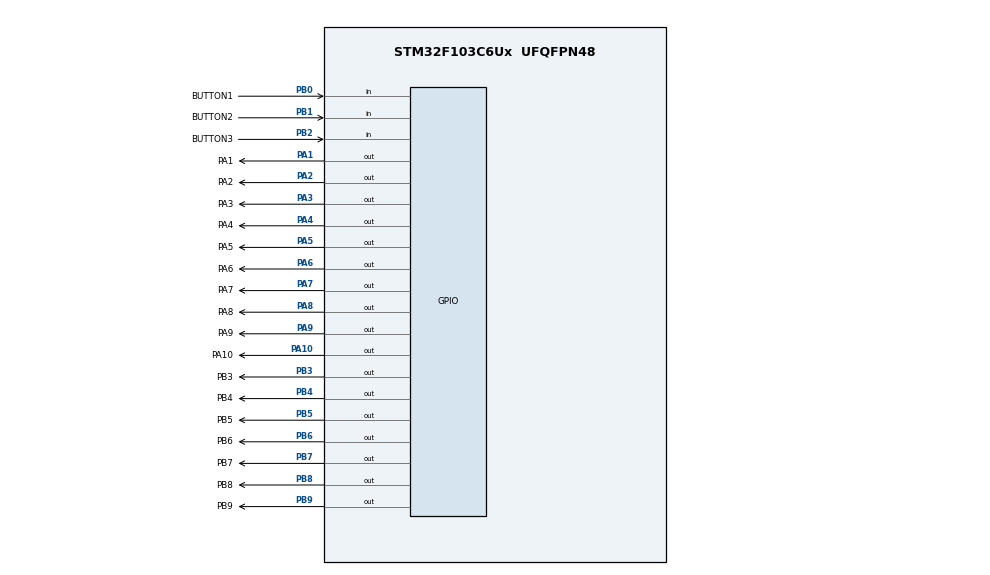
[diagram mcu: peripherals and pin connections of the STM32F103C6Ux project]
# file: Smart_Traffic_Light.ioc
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Mcu.Family=STM32F1
Mcu.Name=STM32F103C6Ux
Mcu.Package=UFQFPN48
NVIC.PriorityGroup=NVIC_PRIORITYGROUP_4
NVIC.TIM2_IRQn=true\:0\:0\:false\:false\:true\:true\:true
PA1.GPIO_Label=PA1
PA1.Signal=GPIO_Output
PA10.GPIO_Label=PA10
PA10.Signal=GPIO_Output
PA2.GPIO_Label=PA2
PA2.Signal=GPIO_Output
PA3.GPIO_Label=PA3
PA3.Signal=GPIO_Output
PA4.GPIO_Label=PA4
PA4.Signal=GPIO_Output
PA5.GPIO_Label=PA5
PA5.Signal=GPIO_Output
PA6.GPIO_Label=PA6
PA6.Signal=GPIO_Output
PA7.GPIO_Label=PA7
PA7.Signal=GPIO_Output
PA8.GPIO_Label=PA8
PA8.Signal=GPIO_Output
PA9.GPIO_Label=PA9
PA9.Signal=GPIO_Output
PB0.GPIO_Label=BUTTON1
PB0.GPIO_PuPd=GPIO_PULLUP
PB0.Signal=GPIO_Input
PB1.GPIO_Label=BUTTON2
PB1.GPIO_PuPd=GPIO_PULLUP
PB1.Signal=GPIO_Input
PB2.GPIO_Label=BUTTON3
PB2.GPIO_PuPd=GPIO_PULLUP
PB2.Signal=GPIO_Input
PB3.GPIO_Label=PB3
PB3.Signal=GPIO_Output
PB4.GPIO_Label=PB4
PB4.Signal=GPIO_Output
PB5.GPIO_Label=PB5
PB5.Signal=GPIO_Output
PB6.GPIO_Label=PB6
PB6.Signal=GPIO_Output
PB7.GPIO_Label=PB7
PB7.Signal=GPIO_Output
PB8.GPIO_Label=PB8
PB8.Signal=GPIO_Output
PB9.GPIO_Label=PB9
PB9.Signal=GPIO_Output
ProjectManager.HeapSize=0x200
ProjectManager.StackSize=0x400
ProjectManager.TargetToolchain=STM32CubeIDE
RCC.APB1Freq_Value=8000000
RCC.APB2Freq_Value=8000000
TIM2.Period=9
TIM2.Prescaler=7999
VP_SYS_VS_ND.Mode=No_Debug
VP_TIM2_VS_ClockSourceINT.Mode=Internal
board=custom

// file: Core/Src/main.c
/* USER CODE BEGIN Header */
/**
  ******************************************************************************
  * @file           : main.c
  * @brief          : Main program body
  ******************************************************************************
  * @attention
  *
  * <h2><center>&copy; Copyright (c) 2026 STMicroelectronics.
  * All rights reserved.</center></h2>
  *
  * This software component is licensed by ST under BSD 3-Clause license,
  * the "License"; You may not use this file except in compliance with the
  * License. You may obtain a copy of the License at:
  *                        opensource.org/licenses/BSD-3-Clause
  *
  ******************************************************************************
  */
/* USER CODE END Header */
#include "main.h"

/* USER CODE BEGIN Includes */
#include "software_timer.h"
#include "button.h"
/* USER CODE END Includes */

/* USER CODE BEGIN PTD */
enum TrafficState {
    STATE_RED1_GREEN2,
    STATE_RED1_AMBER2,
    STATE_RED1_RED2_WAIT1, // Trạng thái chờ: Chiều 2 đã hết Vàng, bật Đỏ chờ Chiều 1 hết Đỏ
    STATE_GREEN1_RED2,
    STATE_AMBER1_RED2,
    STATE_RED1_RED2_WAIT2  // Trạng thái chờ: Chiều 1 đã hết Vàng, bật Đỏ chờ Chiều 2 hết Đỏ
};
/* USER CODE END PTD */

/* USER CODE BEGIN PD */
// LED đơn nối Anode vào POWER (+3.3V), Cathode vào PA1..PA6 -> Sáng ở mức RESET (0)
#define LED_ON       GPIO_PIN_RESET
#define LED_OFF      GPIO_PIN_SET

// LED 7 đoạn Anode chung kích qua Transistor PNP (PA7..PA10) -> Dẫn ở mức RESET (0), Ngắt ở mức SET (1)
#define SEG_ENABLE   GPIO_PIN_RESET
#define SEG_DISABLE  GPIO_PIN_SET
/* USER CODE END PD */

TIM_HandleTypeDef htim2;

/* USER CODE BEGIN PV */
const int MAX_LED = 4;
int index_led = 0;
int led_buffer[4] = {0, 0, 0, 0};

// Mã 7 đoạn cho LED Anode chung (bit 0 = đoạn a, ..., bit 6 = đoạn g; 0: sáng, 1: tắt)
uint8_t segmentNumber[10] = {0xC0, 0xF9, 0xA4, 0xB0, 0x99, 0x92, 0x82, 0xF8, 0x80, 0x90};

int current_mode = 1;
int time_value = 0;

int red_time = 5;
int temp_red_time = 5;
int amber_time = 2;
int temp_amber_time = 2;
int green_time = 3;
int temp_green_time = 3;

enum TrafficState traffic_state = STATE_RED1_GREEN2;
int road1_counter = 5;
int road2_counter = 3;
/* USER CODE END PV */

void SystemClock_Config(void);
static void MX_GPIO_Init(void);
static void MX_TIM2_Init(void);
/* USER CODE BEGIN PFP */
void update7SEG(int val1, int val2);
void display7SEG(int num);
void setTrafficLightPins(GPIO_PinState r1, GPIO_PinState a1, GPIO_PinState g1,
                         GPIO_PinState r2, GPIO_PinState a2, GPIO_PinState g2);
void resetNormalMode(void);
/* USER CODE END PFP */

int main(void)
{

  /* MCU Configuration--------------------------------------------------------*/

  /* Reset of all peripherals, Initializes the Flash interface and the Systick. */
  HAL_Init();

  /* Configure the system clock */
  SystemClock_Config();

  /* Initialize all configured peripherals */
  MX_GPIO_Init();
  MX_TIM2_Init();
  /* USER CODE BEGIN 2 */
  __HAL_RCC_AFIO_CLK_ENABLE();
  __HAL_AFIO_REMAP_SWJ_NOJTAG();

  HAL_TIM_Base_Start_IT(&htim2);

  resetNormalMode();
  setTimer2(250);
  setTimer3(100);
  update7SEG(road1_counter, road2_counter);
  /* USER CODE END 2 */

  /* Infinite loop */
  /* USER CODE BEGIN WHILE */
  while (1)
  {
      // 1. Nút nhấn 1 (PB0 - Index 0): Chuyển đổi chế độ Mode 1 -> 2 -> 3 -> 4 -> 1
      if (isButtonPressed(0) == 1) {
          current_mode++;
          if (current_mode > 4) {
              current_mode = 1;
              resetNormalMode();
          } else {
              // Tắt toàn bộ 12 LED đơn trước khi vào Mode chỉnh sửa
              setTrafficLightPins(LED_OFF, LED_OFF, LED_OFF, LED_OFF, LED_OFF, LED_OFF);
              temp_red_time = red_time;
              temp_amber_time = amber_time;
              temp_green_time = green_time;
              setTimer2(250);
          }
      }

      // 2. Xử lý máy trạng thái theo từng Mode
      if (current_mode == 1) {
          // MODE 1: Hệ thống đèn giao thông hoạt động bình thường
          switch (traffic_state) {
              case STATE_RED1_GREEN2:
                  setTrafficLightPins(LED_ON, LED_OFF, LED_OFF, LED_OFF, LED_OFF, LED_ON);
                  if (timer1_flag == 1) {
                      setTimer1(1000);
                      road1_counter--;
                      road2_counter--;
                      if (road2_counter <= 0) {
                          traffic_state = STATE_RED1_AMBER2;
                          road2_counter = amber_time;
                      }
                  }
                  break;

              case STATE_RED1_AMBER2:
                  setTrafficLightPins(LED_ON, LED_OFF, LED_OFF, LED_OFF, LED_ON, LED_OFF);
                  if (timer1_flag == 1) {
                      setTimer1(1000);
                      road1_counter--;
                      road2_counter--;
                      if (road2_counter <= 0) {
                          if (road1_counter > 0) {
                              // Chiều 1 vẫn còn thời gian Đỏ -> Chiều 2 chuyển sang Đỏ cùng chờ
                              traffic_state = STATE_RED1_RED2_WAIT1;
                              road2_counter = road1_counter;
                          } else {
                              traffic_state = STATE_GREEN1_RED2;
                              road1_counter = green_time;
                              road2_counter = red_time;
                          }
                      }
                  }
                  break;

              case STATE_RED1_RED2_WAIT1:
                  // CẢ 2 CHIỀU CÙNG ĐỎ (Chờ chiều 1 hết thời gian Đỏ)
                  setTrafficLightPins(LED_ON, LED_OFF, LED_OFF, LED_ON, LED_OFF, LED_OFF);
                  if (timer1_flag == 1) {
                      setTimer1(1000);
                      road1_counter--;
                      road2_counter--;
                      if (road1_counter <= 0) {
                          traffic_state = STATE_GREEN1_RED2;
                          road1_counter = green_time;
                          road2_counter = red_time;
                      }
                  }
                  break;

              case STATE_GREEN1_RED2:
                  setTrafficLightPins(LED_OFF, LED_OFF, LED_ON, LED_ON, LED_OFF, LED_OFF);
                  if (timer1_flag == 1) {
                      setTimer1(1000);
                      road1_counter--;
                      road2_counter--;
                      if (road1_counter <= 0) {
                          traffic_state = STATE_AMBER1_RED2;
                          road1_counter = amber_time;
                      }
                  }
                  break;

              case STATE_AMBER1_RED2:
                  setTrafficLightPins(LED_OFF, LED_ON, LED_OFF, LED_ON, LED_OFF, LED_OFF);
                  if (timer1_flag == 1) {
                      setTimer1(1000);
                      road1_counter--;
                      road2_counter--;
                      if (road1_counter <= 0) {
                          if (road2_counter > 0) {
                              // Chiều 2 vẫn còn thời gian Đỏ -> Chiều 1 chuyển sang Đỏ cùng chờ
                              traffic_state = STATE_RED1_RED2_WAIT2;
                              road1_counter = road2_counter;
                          } else {
                              traffic_state = STATE_RED1_GREEN2;
                              road1_counter = red_time;
                              road2_counter = green_time;
                          }
                      }
                  }
                  break;

              case STATE_RED1_RED2_WAIT2:
                  // CẢ 2 CHIỀU CÙNG ĐỎ (Chờ chiều 2 hết thời gian Đỏ)
                  setTrafficLightPins(LED_ON, LED_OFF, LED_OFF, LED_ON, LED_OFF, LED_OFF);
                  if (timer1_flag == 1) {
                      setTimer1(1000);
                      road1_counter--;
                      road2_counter--;
                      if (road2_counter <= 0) {
                          traffic_state = STATE_RED1_GREEN2;
                          road1_counter = red_time;
                          road2_counter = green_time;
                      }
                  }
                  break;
          }
      }
      else if (current_mode == 2) {
          // MODE 2: Tinh chỉnh thời gian LED Đỏ (PA1, PA4)
          time_value = temp_red_time;
          if (isButtonPressed(1) == 1) {
              temp_red_time++;
              if (temp_red_time > 99) temp_red_time = 1;
          }
          if (isButtonPressed(2) == 1) {
              red_time = temp_red_time;
          }
      }
      else if (current_mode == 3) {
          // MODE 3: Tinh chỉnh thời gian LED Vàng (PA2, PA5)
          time_value = temp_amber_time;
          if (isButtonPressed(1) == 1) {
              temp_amber_time++;
              if (temp_amber_time > 99) temp_amber_time = 1;
          }
          if (isButtonPressed(2) == 1) {
              amber_time = temp_amber_time;
          }
      }
      else if (current_mode == 4) {
          // MODE 4: Tinh chỉnh thời gian LED Xanh (PA3, PA6)
          time_value = temp_green_time;
          if (isButtonPressed(1) == 1) {
              temp_green_time++;
              if (temp_green_time > 99) temp_green_time = 1;
          }
          if (isButtonPressed(2) == 1) {
              green_time = temp_green_time;
          }
      }

      // 3. Chớp tắt LED 2Hz khi ở trong các Mode 2, 3, 4
      if (timer2_flag == 1) {
          setTimer2(250);
          if (current_mode == 2) {
              HAL_GPIO_TogglePin(GPIOA, PA1_Pin | PA4_Pin);
          } else if (current_mode == 3) {
              HAL_GPIO_TogglePin(GPIOA, PA2_Pin | PA5_Pin);
          } else if (current_mode == 4) {
              HAL_GPIO_TogglePin(GPIOA, PA3_Pin | PA6_Pin);
          }
      }

      // 4. Quét hiển thị 4 LED 7 đoạn
      if (timer3_flag == 1) {
          setTimer3(100); // Tốc độ quét 100ms
          if (current_mode == 1) {
              update7SEG(road1_counter, road2_counter);
          } else {
              update7SEG(current_mode, time_value);
          }
      }
    /* USER CODE END WHILE */

  }
}

void SystemClock_Config(void)
{
  RCC_OscInitTypeDef RCC_OscInitStruct = {0};
  RCC_ClkInitTypeDef RCC_ClkInitStruct = {0};

  /** Initializes the RCC Oscillators according to the specified parameters
  * in the RCC_OscInitTypeDef structure.
  */
  RCC_OscInitStruct.OscillatorType = RCC_OSCILLATORTYPE_HSI;
  RCC_OscInitStruct.HSIState = RCC_HSI_ON;
  RCC_OscInitStruct.HSICalibrationValue = RCC_HSICALIBRATION_DEFAULT;
  RCC_OscInitStruct.PLL.PLLState = RCC_PLL_NONE;
  if (HAL_RCC_OscConfig(&RCC_OscInitStruct) != HAL_OK)
  {
    Error_Handler();
  }
  /** Initializes the CPU, AHB and APB buses clocks
  */
  RCC_ClkInitStruct.ClockType = RCC_CLOCKTYPE_HCLK|RCC_CLOCKTYPE_SYSCLK
                              |RCC_CLOCKTYPE_PCLK1|RCC_CLOCKTYPE_PCLK2;
  RCC_ClkInitStruct.SYSCLKSource = RCC_SYSCLKSOURCE_HSI;
  RCC_ClkInitStruct.AHBCLKDivider = RCC_SYSCLK_DIV1;
  RCC_ClkInitStruct.APB1CLKDivider = RCC_HCLK_DIV1;
  RCC_ClkInitStruct.APB2CLKDivider = RCC_HCLK_DIV1;

  if (HAL_RCC_ClockConfig(&RCC_ClkInitStruct, FLASH_LATENCY_0) != HAL_OK)
  {
    Error_Handler();
  }
}

static void MX_TIM2_Init(void)
{

  TIM_ClockConfigTypeDef sClockSourceConfig = {0};
  TIM_MasterConfigTypeDef sMasterConfig = {0};

  htim2.Instance = TIM2;
  htim2.Init.Prescaler = 7999;
  htim2.Init.CounterMode = TIM_COUNTERMODE_UP;
  htim2.Init.Period = 9;
  htim2.Init.ClockDivision = TIM_CLOCKDIVISION_DIV1;
  htim2.Init.AutoReloadPreload = TIM_AUTORELOAD_PRELOAD_DISABLE;
  if (HAL_TIM_Base_Init(&htim2) != HAL_OK)
  {
    Error_Handler();
  }
  sClockSourceConfig.ClockSource = TIM_CLOCKSOURCE_INTERNAL;
  if (HAL_TIM_ConfigClockSource(&htim2, &sClockSourceConfig) != HAL_OK)
  {
    Error_Handler();
  }
  sMasterConfig.MasterOutputTrigger = TIM_TRGO_RESET;
  sMasterConfig.MasterSlaveMode = TIM_MASTERSLAVEMODE_DISABLE;
  if (HAL_TIMEx_MasterConfigSynchronization(&htim2, &sMasterConfig) != HAL_OK)
  {
    Error_Handler();
  }

}

static void MX_GPIO_Init(void)
{
  GPIO_InitTypeDef GPIO_InitStruct = {0};

  /* GPIO Ports Clock Enable */
  __HAL_RCC_GPIOA_CLK_ENABLE();
  __HAL_RCC_GPIOB_CLK_ENABLE();

  /*Configure GPIO pin Output Level */
  HAL_GPIO_WritePin(GPIOA, PA1_Pin|PA2_Pin|PA3_Pin|PA4_Pin
                          |PA5_Pin|PA6_Pin|PA7_Pin|PA8_Pin
                          |PA9_Pin|PA10_Pin, GPIO_PIN_RESET);

  /*Configure GPIO pin Output Level */
  HAL_GPIO_WritePin(GPIOB, PB3_Pin|PB4_Pin|PB5_Pin|PB6_Pin
                          |PB7_Pin|PB8_Pin|PB9_Pin, GPIO_PIN_RESET);

  /*Configure GPIO pins : PA1_Pin PA2_Pin PA3_Pin PA4_Pin
                           PA5_Pin PA6_Pin PA7_Pin PA8_Pin
                           PA9_Pin PA10_Pin */
  GPIO_InitStruct.Pin = PA1_Pin|PA2_Pin|PA3_Pin|PA4_Pin
                          |PA5_Pin|PA6_Pin|PA7_Pin|PA8_Pin
                          |PA9_Pin|PA10_Pin;
  GPIO_InitStruct.Mode = GPIO_MODE_OUTPUT_PP;
  GPIO_InitStruct.Pull = GPIO_NOPULL;
  GPIO_InitStruct.Speed = GPIO_SPEED_FREQ_LOW;
  HAL_GPIO_Init(GPIOA, &GPIO_InitStruct);

  /*Configure GPIO pins : BUTTON1_Pin BUTTON2_Pin BUTTON3_Pin */
  GPIO_InitStruct.Pin = BUTTON1_Pin|BUTTON2_Pin|BUTTON3_Pin;
  GPIO_InitStruct.Mode = GPIO_MODE_INPUT;
  GPIO_InitStruct.Pull = GPIO_PULLUP;
  HAL_GPIO_Init(GPIOB, &GPIO_InitStruct);

  /*Configure GPIO pins : PB3_Pin PB4_Pin PB5_Pin PB6_Pin
                           PB7_Pin PB8_Pin PB9_Pin */
  GPIO_InitStruct.Pin = PB3_Pin|PB4_Pin|PB5_Pin|PB6_Pin
                          |PB7_Pin|PB8_Pin|PB9_Pin;
  GPIO_InitStruct.Mode = GPIO_MODE_OUTPUT_PP;
  GPIO_InitStruct.Pull = GPIO_NOPULL;
  GPIO_InitStruct.Speed = GPIO_SPEED_FREQ_LOW;
  HAL_GPIO_Init(GPIOB, &GPIO_InitStruct);

}

/* USER CODE BEGIN 4 */
void setTrafficLightPins(GPIO_PinState r1, GPIO_PinState a1, GPIO_PinState g1,
                         GPIO_PinState r2, GPIO_PinState a2, GPIO_PinState g2) {
    // Đường 1: PA1 (Đỏ), PA2 (Vàng), PA3 (Xanh)
    HAL_GPIO_WritePin(GPIOA, PA1_Pin, r1);
    HAL_GPIO_WritePin(GPIOA, PA2_Pin, a1);
    HAL_GPIO_WritePin(GPIOA, PA3_Pin, g1);
    // Đường 2: PA4 (Đỏ), PA5 (Vàng), PA6 (Xanh)
    HAL_GPIO_WritePin(GPIOA, PA4_Pin, r2);
    HAL_GPIO_WritePin(GPIOA, PA5_Pin, a2);
    HAL_GPIO_WritePin(GPIOA, PA6_Pin, g2);
}

void resetNormalMode(void) {
    traffic_state = STATE_RED1_GREEN2;
    road1_counter = red_time;
    road2_counter = green_time;
    setTimer1(1000);
}

void display7SEG(int num) {
    if (num < 0 || num > 9) num = 0;
    uint8_t code = segmentNumber[num];
    // 7SEG-COM-ANODE: bit 0 (RESET) là sáng đoạn, bit 1 (SET) là tắt đoạn
    HAL_GPIO_WritePin(PB9_GPIO_Port, PB9_Pin, (code >> 0) & 0x01); // đoạn a
    HAL_GPIO_WritePin(PB8_GPIO_Port, PB8_Pin, (code >> 1) & 0x01); // đoạn b
    HAL_GPIO_WritePin(PB7_GPIO_Port, PB7_Pin, (code >> 2) & 0x01); // đoạn c
    HAL_GPIO_WritePin(PB6_GPIO_Port, PB6_Pin, (code >> 3) & 0x01); // đoạn d
    HAL_GPIO_WritePin(PB5_GPIO_Port, PB5_Pin, (code >> 4) & 0x01); // đoạn e
    HAL_GPIO_WritePin(PB4_GPIO_Port, PB4_Pin, (code >> 5) & 0x01); // đoạn f
    HAL_GPIO_WritePin(PB3_GPIO_Port, PB3_Pin, (code >> 6) & 0x01); // đoạn g
}

void update7SEG(int val1, int val2) {
    led_buffer[0] = val1 / 10;
    led_buffer[1] = val1 % 10;
    led_buffer[2] = val2 / 10;
    led_buffer[3] = val2 % 10;

    // 1. TẮT tất cả 4 LED trước khi xuất dữ liệu mới
    // (Dùng Transistor PNP: Kéo PA7..PA10 lên mức SET/3.3V để ngắt dòng)
    HAL_GPIO_WritePin(PA7_GPIO_Port, PA7_Pin, SEG_DISABLE);
    HAL_GPIO_WritePin(PA8_GPIO_Port, PA8_Pin, SEG_DISABLE);
    HAL_GPIO_WritePin(PA9_GPIO_Port, PA9_Pin, SEG_DISABLE);
    HAL_GPIO_WritePin(PA10_GPIO_Port, PA10_Pin, SEG_DISABLE);

    // Xuất mã 7 đoạn ra Port B
    display7SEG(led_buffer[index_led]);

    // 2. BẬT duy nhất 1 LED đến lượt quét
    // (Dùng Transistor PNP: Kéo chân tương ứng xuống mức RESET/0V để kích dẫn)
    switch (index_led) {
        case 0:
            HAL_GPIO_WritePin(PA7_GPIO_Port, PA7_Pin, SEG_ENABLE);
            break;
        case 1:
            HAL_GPIO_WritePin(PA8_GPIO_Port, PA8_Pin, SEG_ENABLE);
            break;
        case 2:
            HAL_GPIO_WritePin(PA9_GPIO_Port, PA9_Pin, SEG_ENABLE);
            break;
        case 3:
            HAL_GPIO_WritePin(PA10_GPIO_Port, PA10_Pin, SEG_ENABLE);
            break;
    }

    index_led++;
    if (index_led >= MAX_LED) {
        index_led = 0;
    }
}

void HAL_TIM_PeriodElapsedCallback(TIM_HandleTypeDef *htim) {
    if (htim->Instance == TIM2) {
        timerRun();
        getKeyInput();
    }
}
/* USER CODE END 4 */

void Error_Handler(void)
{
  __disable_irq();
  while (1)
  {
  }
}

/************************ (C) COPYRIGHT STMicroelectronics *****END OF FILE****/
